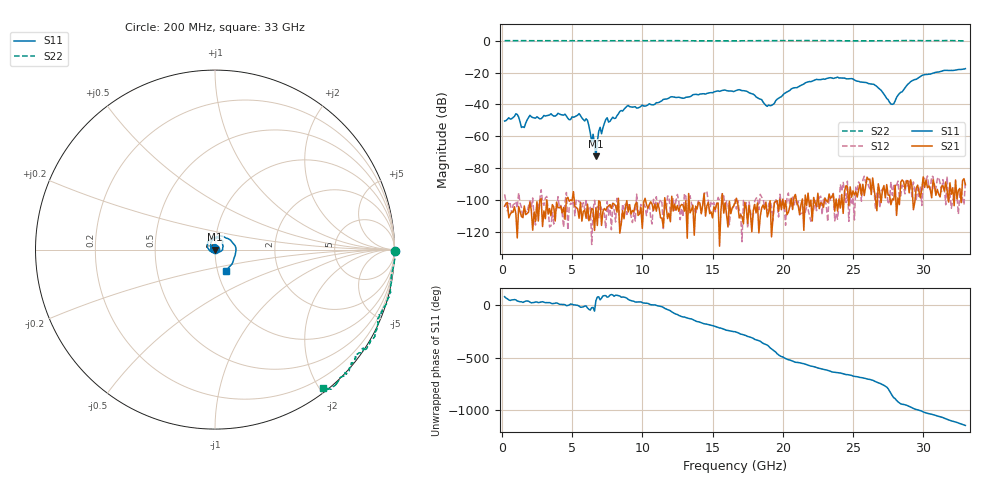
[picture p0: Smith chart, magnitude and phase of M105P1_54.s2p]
# GHZ S RI R 50
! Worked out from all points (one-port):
!   329 points, 200 MHz to 33 GHz, reference 50 ohm
!   lowest |S11| = -72.6 dB at 6.7 GHz (marker M1), VSWR 1.00, Z = 50 + j0.0162 ohm
!   |S11| at or under -10 dB: start of sweep to end of sweep
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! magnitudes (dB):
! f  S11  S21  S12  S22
! 200 MHz  -50.5  -103.9  -96.5  0.0
! 1 GHz  -45.9  -108.4  -100.8  0.0
! 1.6 GHz  -54.5  -103.7  -105.5  0.0
! 2 GHz  -46.9  -101.4  -100.5  0.0
! 5.7 GHz  -48.5  -113.3  -104.5  -0.1
! 6.1 GHz  -50.1  -102.7  -111.8  0.0
! 6.4 GHz  -63.7  -105.3  -127.9  -0.1
! 6.5 GHz  -58.8  -106.0  -106.2  0.0
! 6.7 GHz  -72.6  -105.0  -105.6  -0.1
! 6.9 GHz  -56.9  -100.5  -111.6  -0.1
! 7.1 GHz  -58.4  -116.0  -106.0  0.0
! 7.5 GHz  -48.4  -104.6  -100.9  -0.1
! 9 GHz  -40.7  -107.5  -102.0  0.0
! 11.2 GHz  -38.7  -105.2  -101.9  0.0
! 16.6 GHz  -31.6  -101.9  -99.8  -0.1
! 17.9 GHz  -33.6  -106.6  -109.5  0.0
! 18.9 GHz  -41.2  -110.6  -106.7  0.0
! 22.1 GHz  -25.4  -113.2  -106.2  0.1
! 26.5 GHz  -27.5  -93.5  -93.8  -0.1
! 27.6 GHz  -38.7  -97.1  -100.6  -0.1
! 29.9 GHz  -21.9  -92.9  -103.5  0.0
! 33 GHz  -17.6  -90.4  -88.4  -0.2
